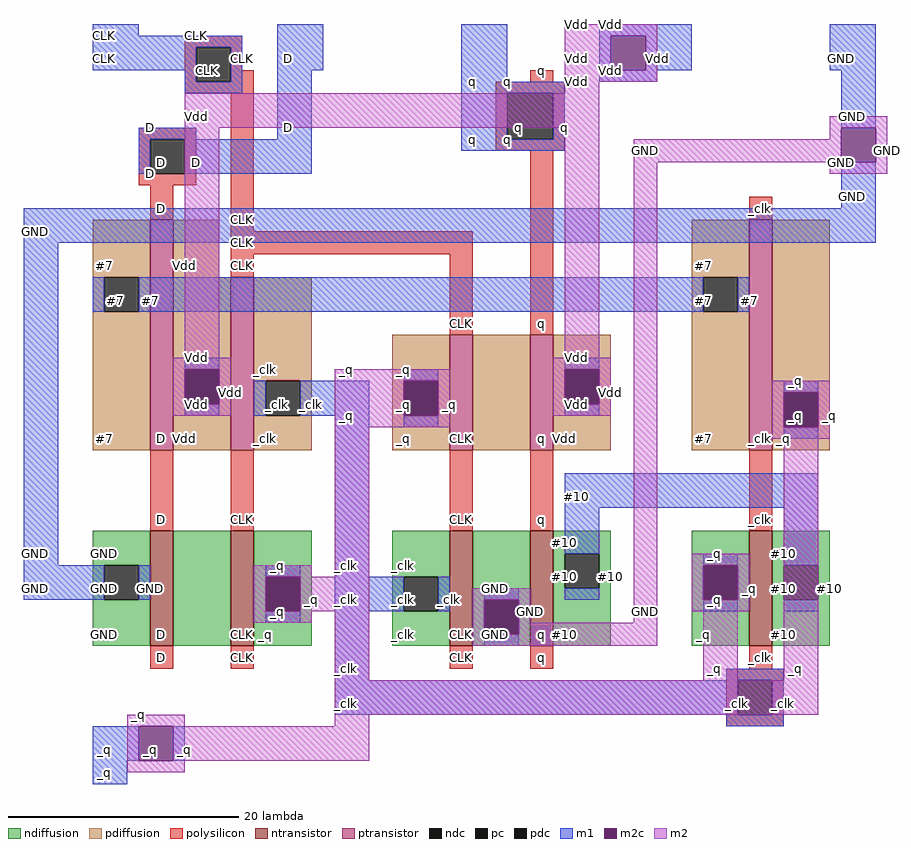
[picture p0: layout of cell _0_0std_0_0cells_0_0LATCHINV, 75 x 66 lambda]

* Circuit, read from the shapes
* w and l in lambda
.subckt _0_0std_0_0cells_0_0LATCHINV _q q D CLK
M1 n1 D GND VSUBS nfet w=10 l=2
M2 _q CLK n1 VSUBS nfet w=10 l=2
M3 GND CLK _clk VSUBS nfet w=10 l=2
M4 #10 q GND VSUBS nfet w=10 l=2
M5 #10 _clk _q VSUBS nfet w=10 l=2
M6 Vdd D #7 NWELL pfet w=20 l=2
M7 _clk CLK Vdd NWELL pfet w=15 l=2
M8 n2 CLK _q NWELL pfet w=10 l=2
M9 Vdd q n2 NWELL pfet w=10 l=2
M10 _q _clk #7 NWELL pfet w=20 l=2
.ends

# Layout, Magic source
magic
tech sky130l
<< ndiffusion >>
rect 8 21 13 24
rect 8 18 9 21
rect 12 18 13 21
rect 8 14 13 18
rect 15 14 20 24
rect 22 20 27 24
rect 22 17 23 20
rect 26 17 27 20
rect 22 14 27 17
rect 34 20 39 24
rect 34 17 35 20
rect 38 17 39 20
rect 34 14 39 17
rect 41 18 46 24
rect 41 15 42 18
rect 45 15 46 18
rect 41 14 46 15
rect 48 22 53 24
rect 48 19 49 22
rect 52 19 53 22
rect 48 14 53 19
rect 60 21 65 24
rect 60 18 61 21
rect 64 18 65 21
rect 60 14 65 18
rect 67 21 72 24
rect 67 18 68 21
rect 71 18 72 21
rect 67 14 72 18
<< ndc >>
rect 9 18 12 21
rect 23 17 26 20
rect 35 17 38 20
rect 42 15 45 18
rect 49 19 52 22
rect 61 18 64 21
rect 68 18 71 21
<< ntransistor >>
rect 13 14 15 24
rect 20 14 22 24
rect 39 14 41 24
rect 46 14 48 24
rect 65 14 67 24
<< pdiffusion >>
rect 8 46 13 51
rect 8 43 9 46
rect 12 43 13 46
rect 8 31 13 43
rect 15 46 19 51
rect 15 38 20 46
rect 15 35 16 38
rect 19 35 20 38
rect 15 31 20 35
rect 22 37 27 46
rect 60 46 65 51
rect 60 43 61 46
rect 64 43 65 46
rect 22 34 23 37
rect 26 34 27 37
rect 22 31 27 34
rect 34 37 39 41
rect 34 34 35 37
rect 38 34 39 37
rect 34 31 39 34
rect 41 31 46 41
rect 48 38 53 41
rect 48 35 49 38
rect 52 35 53 38
rect 48 31 53 35
rect 60 31 65 43
rect 67 36 72 51
rect 67 33 68 36
rect 71 33 72 36
rect 67 31 72 33
<< pdc >>
rect 9 43 12 46
rect 16 35 19 38
rect 61 43 64 46
rect 23 34 26 37
rect 35 34 38 37
rect 49 35 52 38
rect 68 33 71 36
<< ptransistor >>
rect 13 31 15 51
rect 20 31 22 46
rect 39 31 41 41
rect 46 31 48 41
rect 65 31 67 51
<< polysilicon >>
rect 16 66 21 67
rect 16 63 17 66
rect 20 64 21 66
rect 20 63 22 64
rect 46 63 48 64
rect 16 62 22 63
rect 12 58 17 59
rect 12 55 13 58
rect 16 55 17 58
rect 12 54 17 55
rect 13 51 15 54
rect 20 50 22 62
rect 43 62 49 63
rect 43 58 44 62
rect 48 58 49 62
rect 43 57 49 58
rect 20 48 41 50
rect 20 46 22 48
rect 39 41 41 48
rect 46 41 48 57
rect 65 51 67 53
rect 13 24 15 31
rect 20 24 22 31
rect 39 24 41 31
rect 46 24 48 31
rect 65 24 67 31
rect 13 12 15 14
rect 20 12 22 14
rect 39 12 41 14
rect 46 12 48 14
rect 65 12 67 14
rect 63 11 68 12
rect 63 8 64 11
rect 67 8 68 11
rect 63 7 68 8
<< pc >>
rect 17 63 20 66
rect 13 55 16 58
rect 44 58 48 62
rect 64 8 67 11
<< m1 >>
rect 8 67 12 68
rect 8 66 21 67
rect 8 64 17 66
rect 16 63 17 64
rect 20 63 21 66
rect 16 62 21 63
rect 24 64 28 68
rect 12 58 17 59
rect 24 58 27 64
rect 12 55 13 58
rect 16 55 27 58
rect 40 63 44 68
rect 52 67 60 68
rect 52 64 53 67
rect 56 64 60 67
rect 72 64 76 68
rect 52 63 57 64
rect 40 62 49 63
rect 40 58 44 62
rect 48 58 49 62
rect 40 57 49 58
rect 73 59 76 64
rect 73 52 76 56
rect 2 49 76 52
rect 2 21 5 49
rect 8 43 9 46
rect 12 43 61 46
rect 64 43 65 46
rect 16 38 19 39
rect 49 38 52 39
rect 35 37 38 38
rect 16 34 19 35
rect 22 34 23 37
rect 26 34 32 37
rect 2 18 9 21
rect 12 18 13 21
rect 23 20 26 21
rect 23 16 26 17
rect 29 20 32 34
rect 49 34 52 35
rect 68 36 71 37
rect 35 33 38 34
rect 68 32 71 33
rect 49 26 71 29
rect 49 22 52 26
rect 29 17 35 20
rect 38 17 39 20
rect 42 18 45 19
rect 49 18 52 19
rect 61 21 64 22
rect 29 11 32 17
rect 61 17 64 18
rect 68 21 71 26
rect 68 17 71 18
rect 42 14 45 15
rect 63 11 68 12
rect 29 8 64 11
rect 67 8 68 11
rect 63 7 68 8
rect 8 4 12 7
rect 15 4 16 7
rect 8 2 11 4
<< m2c >>
rect 53 64 56 67
rect 73 56 76 59
rect 16 35 19 38
rect 23 17 26 20
rect 35 34 38 37
rect 49 35 52 38
rect 68 33 71 36
rect 61 18 64 21
rect 42 15 45 18
rect 12 4 15 7
<< m2 >>
rect 49 67 57 68
rect 49 64 53 67
rect 56 64 57 67
rect 49 63 57 64
rect 49 62 52 63
rect 16 59 52 62
rect 16 39 19 59
rect 49 39 52 59
rect 72 59 77 60
rect 72 58 73 59
rect 55 56 73 58
rect 76 56 77 59
rect 15 38 20 39
rect 48 38 53 39
rect 15 35 16 38
rect 19 35 20 38
rect 15 34 20 35
rect 29 37 39 38
rect 29 34 35 37
rect 38 34 39 37
rect 48 35 49 38
rect 52 35 53 38
rect 48 34 53 35
rect 29 33 39 34
rect 22 20 27 21
rect 29 20 32 33
rect 22 17 23 20
rect 26 17 32 20
rect 22 16 27 17
rect 29 11 32 17
rect 41 18 46 19
rect 41 15 42 18
rect 45 16 46 18
rect 55 16 57 56
rect 72 55 77 56
rect 67 36 72 37
rect 67 33 68 36
rect 71 33 72 36
rect 67 32 72 33
rect 60 21 65 22
rect 60 18 61 21
rect 64 18 65 21
rect 60 17 65 18
rect 45 15 57 16
rect 41 14 57 15
rect 61 11 64 17
rect 68 11 71 32
rect 29 8 71 11
rect 11 7 16 8
rect 29 7 32 8
rect 11 4 12 7
rect 15 4 32 7
rect 11 3 16 4
<< labels >>
rlabel ndiffusion 72 19 72 19 3 #10
rlabel ndiffusion 68 15 68 15 3 #10
rlabel ndiffusion 68 19 68 19 3 #10
rlabel ndiffusion 68 22 68 22 3 #10
rlabel pdiffusion 68 32 68 32 3 _q
rlabel ntransistor 66 15 66 15 3 _clk
rlabel polysilicon 66 25 66 25 3 _clk
rlabel ptransistor 66 32 66 32 3 _clk
rlabel polysilicon 66 52 66 52 3 _clk
rlabel ndiffusion 61 15 61 15 3 _q
rlabel ndiffusion 53 20 53 20 3 #10
rlabel pdiffusion 61 32 61 32 3 #7
rlabel pdiffusion 61 44 61 44 3 #7
rlabel pdiffusion 61 47 61 47 3 #7
rlabel ndiffusion 49 15 49 15 3 #10
rlabel ndiffusion 49 20 49 20 3 #10
rlabel ndiffusion 49 23 49 23 3 #10
rlabel pdiffusion 49 32 49 32 3 Vdd
rlabel polysilicon 47 42 47 42 3 q
rlabel polysilicon 47 64 47 64 3 q
rlabel polysilicon 66 13 66 13 3 _clk
rlabel ntransistor 47 15 47 15 3 q
rlabel polysilicon 47 25 47 25 3 q
rlabel ptransistor 47 32 47 32 3 q
rlabel polysilicon 44 58 44 58 3 q
rlabel polysilicon 44 59 44 59 3 q
rlabel polysilicon 44 63 44 63 3 q
rlabel ndiffusion 35 18 35 18 3 _clk
rlabel polysilicon 47 13 47 13 3 q
rlabel ntransistor 40 15 40 15 3 CLK
rlabel polysilicon 40 25 40 25 3 CLK
rlabel ptransistor 40 32 40 32 3 CLK
rlabel polysilicon 40 42 40 42 3 CLK
rlabel ndiffusion 35 15 35 15 3 _clk
rlabel ndiffusion 35 21 35 21 3 _clk
rlabel pdiffusion 35 32 35 32 3 _q
rlabel pdiffusion 35 35 35 35 3 _q
rlabel pdiffusion 35 38 35 38 3 _q
rlabel polysilicon 21 65 21 65 3 CLK
rlabel polysilicon 40 13 40 13 3 CLK
rlabel ndiffusion 23 15 23 15 3 _q
rlabel pdiffusion 23 32 23 32 3 _clk
rlabel pdiffusion 23 38 23 38 3 _clk
rlabel polysilicon 21 47 21 47 3 CLK
rlabel polysilicon 21 49 21 49 3 CLK
rlabel polysilicon 21 51 21 51 3 CLK
rlabel polysilicon 17 67 17 67 3 CLK
rlabel polysilicon 21 13 21 13 3 CLK
rlabel ntransistor 21 15 21 15 3 CLK
rlabel polysilicon 21 25 21 25 3 CLK
rlabel ptransistor 21 32 21 32 3 CLK
rlabel polysilicon 64 9 64 9 3 _clk
rlabel pdiffusion 16 32 16 32 3 Vdd
rlabel pdiffusion 16 47 16 47 3 Vdd
rlabel polysilicon 14 52 14 52 3 D
rlabel polysilicon 14 13 14 13 3 D
rlabel ntransistor 14 15 14 15 3 D
rlabel polysilicon 14 25 14 25 3 D
rlabel ptransistor 14 32 14 32 3 D
rlabel polysilicon 13 55 13 55 3 D
rlabel ndiffusion 9 15 9 15 3 GND
rlabel ndiffusion 9 19 9 19 3 GND
rlabel ndiffusion 9 22 9 22 3 GND
rlabel pdiffusion 9 32 9 32 3 #7
rlabel pdiffusion 9 47 9 47 3 #7
rlabel m1 74 53 74 53 3 GND
rlabel m1 74 60 74 60 3 GND
rlabel m1 73 65 73 65 3 GND
rlabel ndc 69 19 69 19 3 #10
rlabel m1 69 22 69 22 3 #10
rlabel m1 69 33 69 33 3 _q
port 1 e
rlabel m1 69 37 69 37 3 _q
port 1 e
rlabel m1 62 22 62 22 3 _q
port 1 e
rlabel m1 53 64 53 64 3 Vdd
rlabel m1 53 65 53 65 3 Vdd
rlabel m1 53 68 53 68 3 Vdd
rlabel m1 49 59 49 59 3 q
port 2 e
rlabel m1 50 19 50 19 3 #10
rlabel ndc 50 20 50 20 3 #10
rlabel m1 50 23 50 23 3 #10
rlabel m1 50 27 50 27 3 #10
rlabel m1 50 35 50 35 3 Vdd
rlabel m1 50 39 50 39 3 Vdd
rlabel pc 45 59 45 59 3 q
port 2 e
rlabel m1 41 58 41 58 3 q
port 2 e
rlabel m1 41 59 41 59 3 q
port 2 e
rlabel m1 41 63 41 63 3 q
port 2 e
rlabel m1 41 64 41 64 3 q
port 2 e
rlabel m1 43 19 43 19 3 GND
rlabel m1 69 18 69 18 3 #10
rlabel m1 36 38 36 38 3 _q
port 1 e
rlabel m1 39 18 39 18 3 _clk
rlabel m1 36 34 36 34 3 _q
port 1 e
rlabel m1 62 18 62 18 3 _q
port 1 e
rlabel ndc 36 18 36 18 3 _clk
rlabel m1 27 35 27 35 3 _clk
rlabel m1 64 12 64 12 3 _clk
rlabel m1 30 18 30 18 3 _clk
rlabel m1 30 21 30 21 3 _clk
rlabel pdc 24 35 24 35 3 _clk
rlabel m1 25 59 25 59 3 D
port 3 e
rlabel m1 25 65 25 65 3 D
port 3 e
rlabel m1 21 64 21 64 3 CLK
port 4 e
rlabel m1 64 8 64 8 3 _clk
rlabel m1 68 9 68 9 3 _clk
rlabel m1 43 15 43 15 3 GND
rlabel m1 23 35 23 35 3 _clk
rlabel m1 65 44 65 44 3 #7
rlabel pc 18 64 18 64 3 CLK
port 4 e
rlabel pc 65 9 65 9 3 _clk
rlabel m1 24 17 24 17 3 _q
port 1 e
rlabel m1 24 21 24 21 3 _q
port 1 e
rlabel pdc 62 44 62 44 3 #7
rlabel m1 17 56 17 56 3 D
port 3 e
rlabel m1 17 63 17 63 3 CLK
port 4 e
rlabel m1 17 64 17 64 3 CLK
port 4 e
rlabel m1 30 9 30 9 3 _clk
rlabel m1 30 12 30 12 3 _clk
rlabel m1 17 35 17 35 3 Vdd
rlabel m1 17 39 17 39 3 Vdd
rlabel m1 13 44 13 44 3 #7
rlabel pc 14 56 14 56 3 D
port 3 e
rlabel pdc 10 44 10 44 3 #7
rlabel m1 13 56 13 56 3 D
port 3 e
rlabel m1 13 59 13 59 3 D
port 3 e
rlabel m1 13 19 13 19 3 GND
rlabel m1 9 44 9 44 3 #7
rlabel m1 9 3 9 3 3 _q
port 1 e
rlabel m1 9 5 9 5 3 _q
port 1 e
rlabel ndc 10 19 10 19 3 GND
rlabel m1 9 65 9 65 3 CLK
port 4 e
rlabel m1 9 67 9 67 3 CLK
port 4 e
rlabel m1 9 68 9 68 3 CLK
port 4 e
rlabel m1 3 19 3 19 3 GND
rlabel m1 3 22 3 22 3 GND
rlabel m1 3 50 3 50 3 GND
rlabel m2 73 56 73 56 3 GND
rlabel m2 72 34 72 34 3 _q
port 1 e
rlabel m2c 69 34 69 34 3 _q
port 1 e
rlabel m2 73 59 73 59 3 GND
rlabel m2 73 60 73 60 3 GND
rlabel m2 65 19 65 19 3 _q
port 1 e
rlabel m2 68 33 68 33 3 _q
port 1 e
rlabel m2 68 34 68 34 3 _q
port 1 e
rlabel m2 68 37 68 37 3 _q
port 1 e
rlabel m2c 62 19 62 19 3 _q
port 1 e
rlabel m2 61 18 61 18 3 _q
port 1 e
rlabel m2 61 19 61 19 3 _q
port 1 e
rlabel m2 61 22 61 22 3 _q
port 1 e
rlabel m2 77 57 77 57 3 GND
rlabel m2 69 12 69 12 3 _q
port 1 e
rlabel m2c 74 57 74 57 3 GND
rlabel m2 56 17 56 17 3 GND
rlabel m2 56 57 56 57 3 GND
rlabel m2 62 12 62 12 3 _q
port 1 e
rlabel m2 53 36 53 36 3 Vdd
rlabel m2c 50 36 50 36 3 Vdd
rlabel m2 50 40 50 40 3 Vdd
rlabel m2 57 65 57 65 3 Vdd
rlabel m2 46 16 46 16 3 GND
rlabel m2 46 17 46 17 3 GND
rlabel m2 49 35 49 35 3 Vdd
rlabel m2 49 36 49 36 3 Vdd
rlabel m2 49 39 49 39 3 Vdd
rlabel m2c 54 65 54 65 3 Vdd
rlabel m2c 43 16 43 16 3 GND
rlabel m2 42 19 42 19 3 GND
rlabel m2 50 63 50 63 3 Vdd
rlabel m2 50 64 50 64 3 Vdd
rlabel m2 50 65 50 65 3 Vdd
rlabel m2 50 68 50 68 3 Vdd
rlabel m2 42 15 42 15 3 GND
rlabel m2 42 16 42 16 3 GND
rlabel m2 39 35 39 35 3 _q
port 1 e
rlabel m2 30 38 30 38 3 _q
port 1 e
rlabel m2c 36 35 36 35 3 _q
port 1 e
rlabel m2 30 8 30 8 3 _q
port 1 e
rlabel m2 30 9 30 9 3 _q
rlabel m2 30 12 30 12 3 _q
rlabel m2 27 18 27 18 3 _q
port 1 e
rlabel m2 30 21 30 21 3 _q
rlabel m2 30 34 30 34 3 _q
port 1 e
rlabel m2 30 35 30 35 3 _q
port 1 e
rlabel m2 20 36 20 36 3 Vdd
rlabel m2c 24 18 24 18 3 _q
port 1 e
rlabel m2c 17 36 17 36 3 Vdd
rlabel m2 17 40 17 40 3 Vdd
rlabel m2 17 60 17 60 3 Vdd
rlabel m2 16 5 16 5 3 _q
port 1 e
rlabel m2 23 17 23 17 3 _q
port 1 e
rlabel m2 23 18 23 18 3 _q
port 1 e
rlabel m2 23 21 23 21 3 _q
port 1 e
rlabel m2 16 35 16 35 3 Vdd
rlabel m2 16 36 16 36 3 Vdd
rlabel m2 16 39 16 39 3 Vdd
rlabel m2c 13 5 13 5 3 _q
port 1 e
rlabel m2 12 4 12 4 3 _q
port 1 e
rlabel m2 12 5 12 5 3 _q
port 1 e
rlabel m2 12 8 12 8 3 _q
port 1 e
<< end >>
